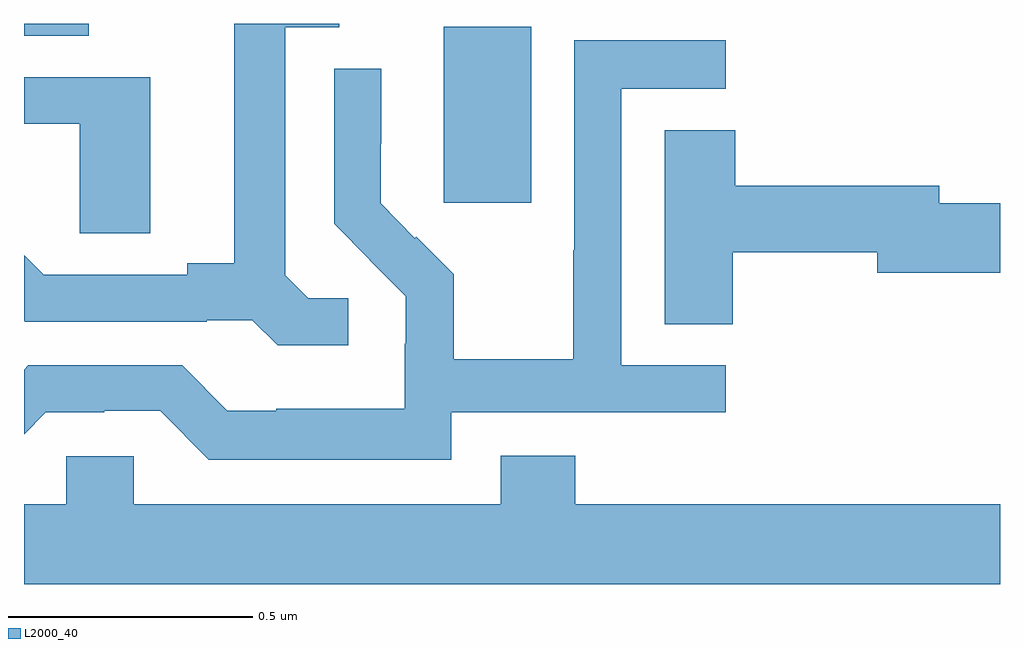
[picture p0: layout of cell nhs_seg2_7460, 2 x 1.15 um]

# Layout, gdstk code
import gdstk
lib = gdstk.Library(unit=1e-6, precision=1e-09)
def R(c, l, rs):  # rectangles x0, y0, x1, y1
    for r in rs: c.add(gdstk.rectangle(r[:2], r[2:], *l))
def P(c, l, *ps):  # polygons
    for p in ps: c.add(gdstk.Polygon(p, *l))
L2000_40 = (2000, 40)

nhs_seg2_7460 = lib.new_cell('nhs_seg2_7460')
R(nhs_seg2_7460, L2000_40, [(204.86,632.433,205.039,632.794), (204,632.776,204.133,632.8)])
P(nhs_seg2_7460, L2000_40, [(204.664,632.238),(204.582,632.238),(204.535,632.285),(204.535,632.793),(204.646,632.793),(204.646,632.8),(204.431,632.8),(204.431,632.309),(204.335,632.309),(204.335,632.286),(204.04,632.286),(204,632.326),(204,632.192),(204.002,632.19),(204.374,632.19),(204.374,632.193),(204.468,632.193),(204.52,632.141),(204.664,632.141)],
  [(204.876,632.004),(205.438,632.004),(205.438,632.1),(205.224,632.1),(205.224,632.667),(205.438,632.667),(205.438,632.766),(205.128,632.766),(205.128,632.336),(205.126,632.336),(205.126,632.113),(204.881,632.113),(204.881,632.287),(204.804,632.364),(204.801,632.361),(204.731,632.432),(204.731,632.554),(204.732,632.554),(204.732,632.708),(204.636,632.708),(204.636,632.39),(204.709,632.317),(204.708,632.316),(204.782,632.242),(204.782,632.145),(204.78,632.145),(204.78,632.011),(204.517,632.011),(204.517,632.007),(204.417,632.007),(204.324,632.1),(204.009,632.1),(204,632.091),(204,631.959),(204.045,632.004),(204.164,632.004),(204.164,632.007),(204.279,632.007),(204.379,631.907),(204.876,631.907)],
  [(204.259,632.691),(204,632.691),(204,632.595),(204.114,632.595),(204.114,632.371),(204.259,632.371)],
  [(205.452,632.332),(205.748,632.332),(205.748,632.29),(206,632.29),(206,632.432),(205.876,632.432),(205.876,632.468),(205.457,632.468),(205.457,632.582),(205.313,632.582),(205.313,632.185),(205.452,632.185)],
  [(206,631.816),(205.13,631.816),(205.13,631.915),(204.977,631.915),(204.977,631.816),(204.225,631.816),(204.225,631.914),(204.087,631.914),(204.087,631.816),(204,631.816),(204,631.652),(206,631.652)])

lib.write_gds('nhs_seg2_7460.gds')
